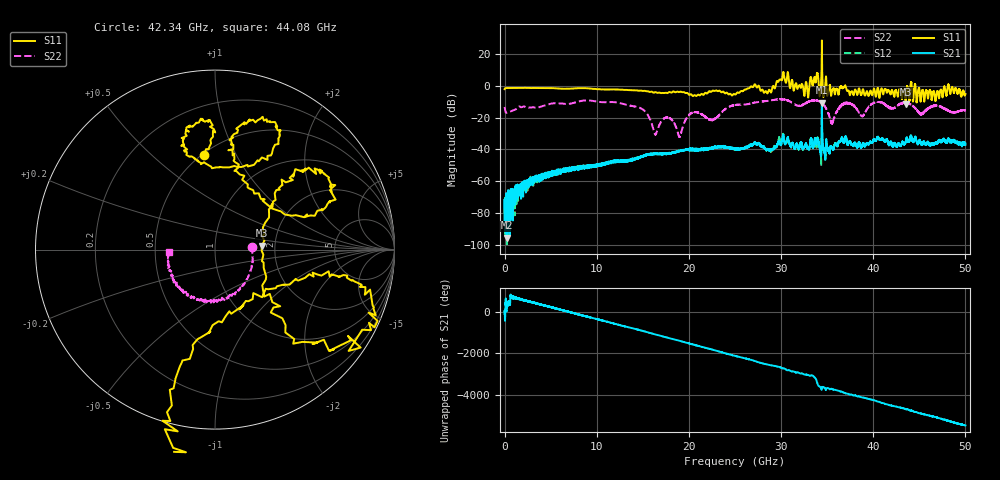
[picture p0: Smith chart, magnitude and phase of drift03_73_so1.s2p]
!Created with skrf (http://scikit-rf.org).
# Hz S RI R 50.0
!freq ReS11 ImS11 ReS21 ImS21 ReS12 ImS12 ReS22 ImS22
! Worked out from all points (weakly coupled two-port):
!   10000 points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, 5.3 MHz to 50 GHz, reference 50 ohm
!   highest |S21| = -10.68 dB at 34.43 GHz (marker M1); lowest = -95.4 dB at 290.3 MHz (marker M2)
!   lowest |S11| = -11.7 dB at 43.52 GHz (marker M3), VSWR 1.70, Z = 85 + j3.92 ohm
!   |S11| at or under -10 dB: 43.48562 GHz to 43.54401 GHz (58.39 MHz wide, 0.134 % of centre); 44.70636 GHz to 44.71251 GHz (6.15 MHz wide, 0.0138 % of centre); 45.13938 GHz to 45.14064 GHz (1.265 MHz wide, 0.0028 % of centre)
!   |S22| runs from -32.1 to -8.4 dB; largest |S21 - S12| = 0.097
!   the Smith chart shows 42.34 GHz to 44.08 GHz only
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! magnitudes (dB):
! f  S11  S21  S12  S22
! 5.3 MHz  -2.1  -76.2  -71.2  -13.3
! 290.3 MHz  -1.4  -95.4  -76.9  -16.9
! 2.885 GHz  -1.4  -60.2  -60.1  -13.5
! 8.34 GHz  -1.5  -51.2  -51.8  -9.5
! 14.58 GHz  -3.1  -45.3  -45.0  -13.6
! 16.67 GHz  -4.4  -43.0  -42.8  -26.5
! 17.78 GHz  -4.3  -42.6  -42.5  -20.0
! 19 GHz  -3.9  -40.9  -41.0  -32.1
! 20.3 GHz  -5.6  -39.7  -40.0  -17.1
! 22.57 GHz  -3.2  -39.1  -39.3  -21.4
! 25.01 GHz  -5.5  -39.9  -39.7  -12.1
! 28.72 GHz  -2.5  -40.4  -40.3  -9.4
! 30.14 GHz  4.4  -33.5  -33.8  -8.5
! 33.34 GHz  2.7  -34.9  -35.2  -9.3
! 34.43 GHz  28.5  -10.7  -12.8  -10.8
! 35.53 GHz  -3.4  -39.0  -39.0  -23.7
! 36.99 GHz  0.0  -31.6  -32.4  -10.9
! 38.78 GHz  -4.5  -38.0  -37.9  -19.1
! 40.17 GHz  -3.2  -34.0  -34.2  -10.5
! 41.67 GHz  -2.9  -36.8  -36.9  -13.2
! 43.52 GHz  -11.7  -35.1  -35.2  -10.9
! 50 GHz  -5.2  -37.1  -36.5  -15.4
